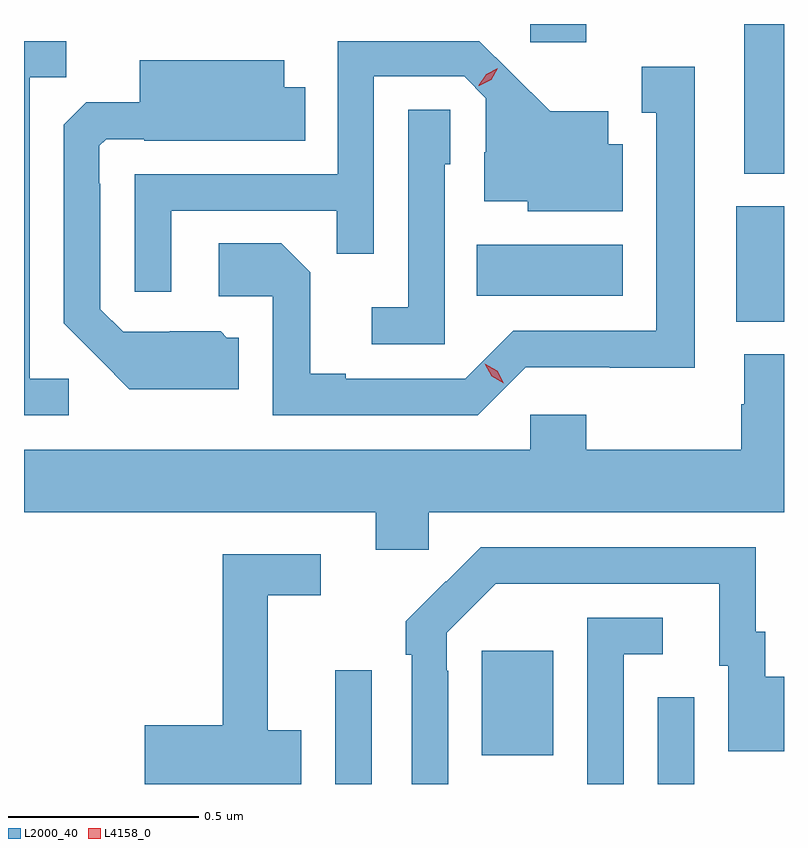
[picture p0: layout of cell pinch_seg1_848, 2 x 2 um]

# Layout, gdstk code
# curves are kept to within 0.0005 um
import gdstk
lib = gdstk.Library(unit=1e-6, precision=1e-09)
def R(c, l, rs):  # rectangles x0, y0, x1, y1
    for r in rs: c.add(gdstk.rectangle(r[:2], r[2:], *l))
def P(c, l, *ps):  # polygons
    for p in ps: c.add(gdstk.Polygon(p, *l))
L2000_40 = (2000, 40)
L4158_0 = (4158, 0)

pinch_seg1_848 = lib.new_cell('pinch_seg1_848')
R(pinch_seg1_848, L2000_40, [(466.443,563.005,466.539,563.305), (467.292,563.005,467.388,563.233), (466.829,563.081,467.017,563.356), (467.498,564.221,467.624,564.526), (466.816,564.29,467.2,564.424), (467.519,564.611,467.624,565.005), (466.956,564.957,467.103,565.005)])
P(pinch_seg1_848, L2000_40, [(465.742,564.072),(465.639,564.072),(465.639,564.865),(465.735,564.865),(465.735,564.96),(465.624,564.96),(465.624,563.976),(465.742,563.976)],
  [(466.011,564.513),(466.447,564.513),(466.447,564.4),(466.545,564.4),(466.545,564.867),(466.782,564.867),(466.839,564.81),(466.839,564.668),(466.835,564.668),(466.835,564.539),(466.95,564.539),(466.95,564.512),(467.2,564.512),(467.2,564.688),(467.161,564.688),(467.161,564.775),(467.009,564.775),(466.822,564.96),(466.449,564.96),(466.449,564.609),(465.915,564.609),(465.915,564.3),(466.011,564.3)],
  [(466.189,564.18),(466.158,564.18),(466.142,564.196),(466.008,564.196),(466.008,564.195),(465.885,564.195),(465.825,564.255),(465.825,564.584),(465.822,564.584),(465.822,564.684),(465.84,564.702),(465.94,564.702),(465.94,564.698),(466.364,564.698),(466.364,564.838),(466.309,564.838),(466.309,564.91),(465.929,564.91),(465.929,564.799),(465.788,564.799),(465.729,564.74),(465.729,564.218),(465.901,564.044),(466.189,564.044)],
  [(466.944,564.102),(467.166,564.102),(467.166,564.101),(467.389,564.101),(467.389,564.892),(467.249,564.892),(467.249,564.771),(467.288,564.771),(467.288,564.198),(466.911,564.198),(466.785,564.072),(466.471,564.072),(466.471,564.085),(466.377,564.085),(466.377,564.352),(466.301,564.428),(466.137,564.428),(466.137,564.288),(466.278,564.288),(466.278,563.976),(466.818,563.976)],
  [(466.731,564.636),(466.746,564.636),(466.746,564.779),(466.635,564.779),(466.635,564.259),(466.539,564.259),(466.539,564.162),(466.731,564.162)],
  [(466.689,563.72),(467.624,563.72),(467.624,564.136),(467.519,564.136),(467.519,564.005),(467.512,564.005),(467.512,563.884),(467.103,563.884),(467.103,563.977),(466.956,563.977),(466.956,563.884),(465.624,563.884),(465.624,563.72),(466.55,563.72),(466.55,563.622),(466.689,563.622)],
  [(466.74,563.303),(466.737,563.303),(466.737,563.403),(466.866,563.532),(467.453,563.532),(467.453,563.316),(467.477,563.316),(467.477,563.091),(467.624,563.091),(467.624,563.287),(467.575,563.287),(467.575,563.406),(467.55,563.406),(467.55,563.628),(466.826,563.628),(466.735,563.537),(466.734,563.538),(466.629,563.433),(466.629,563.345),(466.644,563.345),(466.644,563.005),(466.74,563.005)],
  [(466.354,563.146),(466.265,563.146),(466.265,563.502),(466.405,563.502),(466.405,563.61),(466.147,563.61),(466.147,563.159),(465.942,563.159),(465.942,563.005),(466.354,563.005)],
  [(467.202,563.346),(467.305,563.346),(467.305,563.442),(467.106,563.442),(467.106,563.005),(467.202,563.005)])
P(pinch_seg1_848, L4158_0, [(466.887,564.059),(466.855,564.078),(466.837,564.111),(466.837,564.111),(466.837,564.111),(466.869,564.092),(466.887,564.06),(466.887,564.059)],
  [(466.821,564.843),(466.821,564.844),(466.84,564.873),(466.871,564.888),(466.871,564.888),(466.871,564.888),(466.853,564.858),(466.822,564.843)])

lib.write_gds('pinch_seg1_848.gds')
